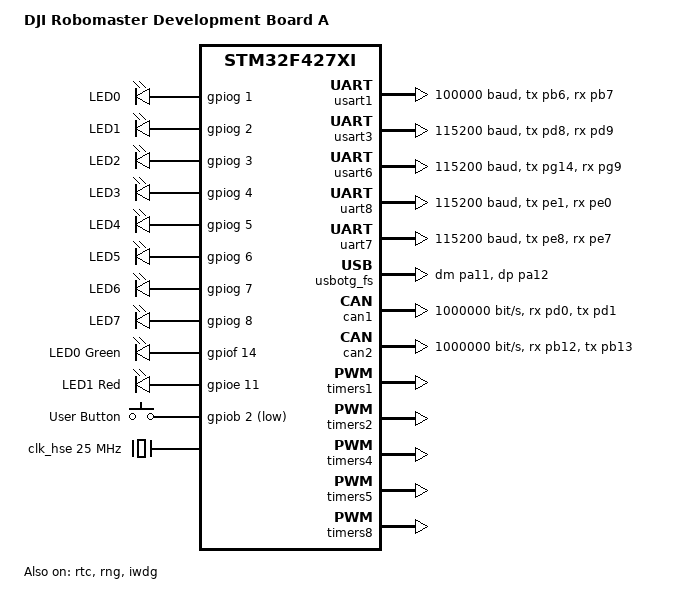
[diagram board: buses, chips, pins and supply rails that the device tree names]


/dts-v1/;
#include <st/f4/stm32f427Xi.dtsi>
#include <st/f4/stm32f427i(g-i)hx-pinctrl.dtsi>
#include <zephyr/dt-bindings/input/input-event-codes.h>


/ {
	model = "DJI Robomaster Development Board A";
	compatible = "dji,robomaster-board-a";

	chosen {
		zephyr,console = &usart6;
		zephyr,shell-uart = &usart6;
		zephyr,sram = &sram0;
		zephyr,button = &user_button;
		zephyr,flash = &flash0;
		zephyr,canbus = &can1;
		sbus,uart = &usart1;
	};

	aliases {
		led0 = &led_0;
		led1 = &led_1;
		led2 = &led_2;
		led3 = &led_3;
		led4 = &led_4;
		led5 = &led_5;
		led6 = &led_6;
		led7 = &led_7;
		led8 = &led_0_green;
		led9 = &led_1_red;

		watchdog0 = &iwdg;
	};

	leds {
		compatible = "gpio-leds";
		led_0: led_0 {
			gpios = <&gpiog 1 GPIO_ACTIVE_HIGH>;
			label = "LED0";
		};
		led_1: led_1 {
			gpios = <&gpiog 2 GPIO_ACTIVE_HIGH>;
			label = "LED1";
		};
		led_2: led_2 {
			gpios = <&gpiog 3 GPIO_ACTIVE_HIGH>;
			label = "LED2";
		};
		led_3: led_3 {
			gpios = <&gpiog 4 GPIO_ACTIVE_HIGH>;
			label = "LED3";
		};
		led_4: led_4 {
			gpios = <&gpiog 5 GPIO_ACTIVE_HIGH>;
			label = "LED4";
		};
		led_5: led_5 {
			gpios = <&gpiog 6 GPIO_ACTIVE_HIGH>;
			label = "LED5";
		};
		led_6: led_6 {
			gpios = <&gpiog 7 GPIO_ACTIVE_HIGH>;
			label = "LED6";
		};
		led_7: led_7 {
			gpios = <&gpiog 8 GPIO_ACTIVE_HIGH>;
			label = "LED7";
		};
		led_0_green: led_0_green {
			gpios = <&gpiof 14 GPIO_ACTIVE_HIGH>;
			label = "LED0 Green";
		};
		led_1_red: led_1_red {
			gpios = <&gpioe 11 GPIO_ACTIVE_HIGH>;
			label = "LED1 Red";
		};
	};

	buttons {
		compatible = "gpio-keys";
		user_button: button_0 {
			gpios = <&gpiob 2 (GPIO_PULL_UP | GPIO_ACTIVE_LOW)>;
			label = "User Button";
			zephyr,code = <INPUT_KEY_0>;
		};
	};
	canbus {
		canbus1: canbus1 {
				compatible = "vnd,canbus";
				status = "okay";
				can_device = <&can1>;
		};
		canbus2: canbus2 {
				compatible = "vnd,canbus";
				status = "okay";
				can_device = <&can2>;
		};
	};
    
};

&clk_lsi {
	status = "okay";
};

&clk_hse {
	clock-frequency = <DT_FREQ_M(25)>;
	status = "okay";
};

&pll {
	div-m = <15>;
	mul-n = <216>;
	div-p = <2>;
	div-q = <4>;
	clocks = <&clk_hse>;
	status = "okay";
};

&rcc {
	clocks = <&pll>;
	clock-frequency = <DT_FREQ_M(180)>;
	ahb-prescaler = <1>;
	apb1-prescaler = <4>;
	apb2-prescaler = <2>;
};

&rtc {
	clocks = <&rcc STM32_CLOCK_BUS_APB1 0x10000000>,
			<&rcc STM32_SRC_LSI RTC_SEL(2)>;
	status = "okay";
};

&rng {
	status = "okay";
};

&iwdg {
	status = "okay";
};

&usart1 {
    pinctrl-0 = <&usart1_tx_pb6 &usart1_rx_pb7>;
    pinctrl-names = "default";
    current-speed = <100000>;
    status = "okay";
    data-bits = <8>;
    stop-bits = "2";
    parity = "even";
    dmas = <&dma1 1 4 STM32_DMA_PERIPH_RX STM32_DMA_FIFO_FULL>,
		   <&dma1 3 4 STM32_DMA_PERIPH_TX STM32_DMA_FIFO_FULL>;
    dma-names = "rx", "tx";
};

&dma1 {
    status = "okay";
};
&usart3 {
	pinctrl-0 = <&usart3_tx_pd8 &usart3_rx_pd9>;
	pinctrl-names = "default";
	current-speed = <115200>;
	status = "okay";
	
};

&usart6 {
	pinctrl-0 = <&usart6_tx_pg14 &usart6_rx_pg9>;
	pinctrl-names = "default";
	current-speed = <115200>;
	status = "okay";
	data-bits = <8>;
	stop-bits = "1";
};
&uart8 {
	pinctrl-0 = <&uart8_tx_pe1 &uart8_rx_pe0>;
	pinctrl-names = "default";
	current-speed = <115200>;
	status = "okay";
	
};
&uart7 {
	pinctrl-0 = <&uart7_tx_pe8 &uart7_rx_pe7>;
	pinctrl-names = "default";
	current-speed = <115200>;
	status = "okay";
	
};

zephyr_udc0: &usbotg_fs {
	pinctrl-0 = <&usb_otg_fs_dm_pa11 &usb_otg_fs_dp_pa12>;
	pinctrl-names = "default";
	status = "okay";
};

&can1 {
	status = "okay";
	pinctrl-0 = <&can1_rx_pd0 &can1_tx_pd1>;
	pinctrl-names = "default";
	bitrate = <1000000>;
};

&can2 {
	pinctrl-0 = <&can2_rx_pb12 &can2_tx_pb13>;
	pinctrl-names = "default";
	bitrate = <1000000>;
	status = "okay";
};

&timers1 {
	status = "okay";
	st,prescaler = <10000>;
//st,countermode = <1>;
	pwm1: pwm {
		status = "okay";
		pinctrl-0 = <&tim1_ch1_pa8>;
		pinctrl-names = "default";
	};
	pwm2: pwm {
		status = "okay";
		pinctrl-0 = <&tim1_ch2_pa9>;
		pinctrl-names = "default";
	};
	pwm3: pwm {
		status = "okay";
		pinctrl-0 = <&tim1_ch3_pe13>;
		pinctrl-names = "default";
	};
	pwm4: pwm {
		status = "okay";
		pinctrl-0 = <&tim1_ch4_pe14>;
		pinctrl-names = "default";
	};
};
&timers2 {
	status = "okay";
	st,prescaler = <10000>;

	pwm_Z: pwm {
		status = "okay";
		pinctrl-0 = <&tim2_ch1_pa0>;
		pinctrl-names = "default";
	};
	pwm_Y: pwm {
		status = "okay";
		pinctrl-0 = <&tim2_ch2_pa1>;
		pinctrl-names = "default";
	};
	pwm_X: pwm {
		status = "okay";
		pinctrl-0 = <&tim2_ch3_pa2>;
		pinctrl-names = "default";
	};
	pwm_W: pwm {
		status = "okay";
		pinctrl-0 = <&tim2_ch4_pa3>;
		pinctrl-names = "default";
	};
};
&timers4 {
	status = "okay";
	st,prescaler = <10000>;

	pwm_A: pwm {
		status = "okay";
		pinctrl-0 = <&tim4_ch1_pd12>;
		pinctrl-names = "default";
	};
	pwm_B: pwm {
		status = "okay";
		pinctrl-0 = <&tim4_ch2_pd13>;
		pinctrl-names = "default";
	};
	pwm_C: pwm {
		status = "okay";
		pinctrl-0 = <&tim4_ch3_pd14>;
		pinctrl-names = "default";
	};
	pwm_D: pwm {
		status = "okay";
		pinctrl-0 = <&tim4_ch4_pd15>;
		pinctrl-names = "default";
	};
};

&timers5 {
	status = "okay";
	st,prescaler = <10000>;

	pwm_E: pwm {
		status = "okay";
		pinctrl-0 = <&tim5_ch1_ph10>;
		pinctrl-names = "default";
	};
	pwm_F: pwm {
		status = "okay";
		pinctrl-0 = <&tim5_ch2_ph11>;
		pinctrl-names = "default";
	};
	pwm_G: pwm {
		status = "okay";
		pinctrl-0 = <&tim5_ch3_ph12>;
		pinctrl-names = "default";
	};
	pwm_H: pwm {
		status = "okay";
		pinctrl-0 = <&tim5_ch4_pi0>;
		pinctrl-names = "default";
	};
};

&timers8 {
	status = "okay";
	st,prescaler = <10000>;

	pwm_V: pwm {
		status = "okay";
		pinctrl-0 = <&tim8_ch1_pi5>;
		pinctrl-names = "default";
	};
	pwm_U: pwm {
		status = "okay";
		pinctrl-0 = <&tim8_ch2_pi6>;
		pinctrl-names = "default";
	};
	pwm_T: pwm {
		status = "okay";
		pinctrl-0 = <&tim8_ch3_pi7>;
		pinctrl-names = "default";
	};
	pwm_S: pwm {
		status = "okay";
		pinctrl-0 = <&tim8_ch4_pi2>;
		pinctrl-names = "default";
	};
};
// &adc1 {
// 	pinctrl-0 = <&adc_in4_pf6>;
// 	pinctrl-names = "default";
// 	st,adc-clock-source = <SYNC>;
// 	st,adc-prescaler = <4>;
// 	status = "okay";
// };

// &spi5 {
// 	status = "okay";
// 	pinctrl-0=<&spi5_mosi_pf9
// 			&spi5_miso_pf8
// 			&spi5_sck_pf7
// 			&spi5_nss_pf6>;
// 	pinctrl-names="default";
// 	mpu6600@0 {
//         compatible = "invensense,mpu6600";
// 		reg = <0>;                     
//         spi-max-frequency = <1000000>; 
//         interrupt-parent = <&gpiof>;  
		
//         interrupts = <8 GPIO_ACTIVE_HIGH>; 
//         label = "MPU6500";             
//         int-gpios = <&gpiof 8 GPIO_ACTIVE_HIGH>; 
//     };
// };



